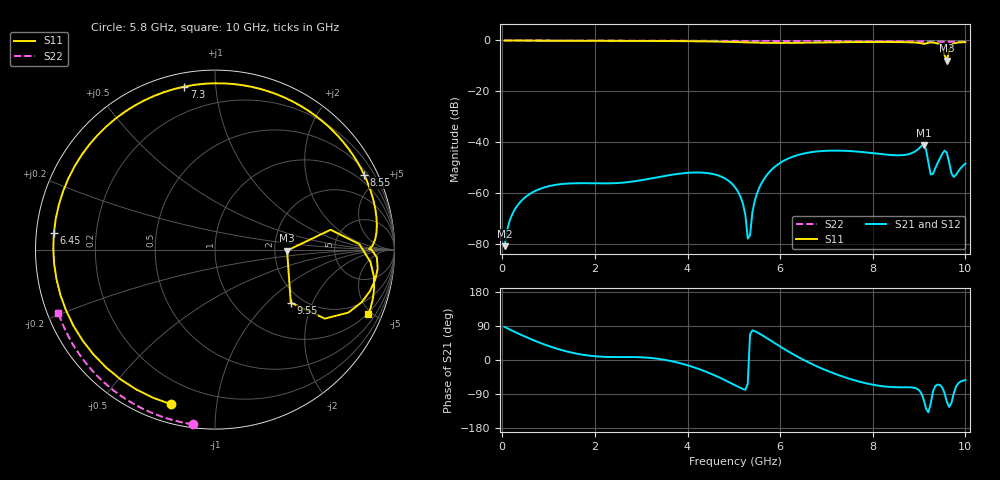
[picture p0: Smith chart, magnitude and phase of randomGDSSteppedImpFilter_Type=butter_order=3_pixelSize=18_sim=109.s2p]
! freq	dB(S11)	phase(S11)	dB(S12)	phase(S12)
!  dB(S21)	phase(S21)	dB(S22)	phase(S22)
!S-par simulation data
#  GHz  S  DB  R 50
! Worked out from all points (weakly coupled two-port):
!   200 points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, 50 MHz to 10 GHz, reference 50 ohm
!   highest |S21| = -41.08 dB at 9.1 GHz (marker M1); lowest = -80.9 dB at 50 MHz (marker M2)
!   lowest |S11| = -7.9 dB at 9.6 GHz (marker M3), VSWR 2.34, Z = 117 - j1.51 ohm
!   |S11| at or under -10 dB: nowhere
!   |S22| runs from -0.5 to 0.0 dB; largest |S21 - S12| = 0
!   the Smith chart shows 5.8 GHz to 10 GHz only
!   S11 on the Smith chart (normalised r, x): 5.8 GHz: 0.09, -0.75; 6.45 GHz: 0.05, +0.05; 7.3 GHz: 0.07, +0.83; 8.55 GHz: 0.67, +4.13; 9.55 GHz: 1.74, -1.40; 10 GHz: 0.92, -4.77
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0.05  -0.00 -5.1  -80.89 87.2  -80.89 87.2  -0.00 -0.9
0.3  -0.04 -29.9  -65.60 72.4  -65.60 72.4  -0.01 -5.5
0.85  -0.09 -79.9  -58.12 43.7  -58.12 43.7  -0.02 -15.4
1.75  -0.13 -144.1  -56.13 13.6  -56.13 13.6  -0.04 -31.4
2.55  -0.16 170.4  -55.99 7.8  -55.99 7.8  -0.06 -45.3
3.4  -0.21 123.7  -53.62 2.5  -53.62 2.5  -0.08 -59.6
4.3  -0.34 64.4  -51.95 -26.3  -51.95 -26.3  -0.11 -74.2
5.05  -0.62 -7.1  -58.30 -68.4  -58.30 -68.4  -0.13 -85.9
5.3  -0.76 -37.8  -77.92 -63.4  -77.92 -63.4  -0.14 -89.7
5.5  -0.86 -64.4  -60.17 73.4  -60.17 73.4  -0.15 -92.7
5.8  -0.96 -105.8  -51.11 50.9  -51.11 50.9  -0.17 -97.3
6.45  -0.89 174.2  -44.71 3.8  -44.71 3.8  -0.20 -106.9
6.7  -0.82 149.3  -43.86 -11.4  -43.86 -11.4  -0.22 -110.5
7.3  -0.69 100.6  -43.34 -41.6  -43.34 -41.6  -0.26 -119.2
8.35  -0.61 37.0  -44.98 -70.9  -44.98 -70.9  -0.34 -134.1
8.55  -0.63 26.6  -45.15 -71.9  -45.15 -71.9  -0.36 -137.0
9.1  -1.32 0.3  -41.08 -104.9  -41.08 -104.9  -0.42 -144.8
9.25  -0.80 -6.7  -52.67 -115.8  -52.67 -115.8  -0.43 -147.0
9.55  -5.76 -35.0  -43.33 -87.4  -43.33 -87.4  -0.47 -151.4
9.6  -7.92 -0.8  -44.15 -110.7  -44.15 -110.7  -0.48 -152.1
9.75  -1.22 -4.5  -53.69 -87.7  -53.69 -87.7  -0.50 -154.3
10  -0.65 -22.9  -48.40 -53.1  -48.40 -53.1  -0.53 -157.9
